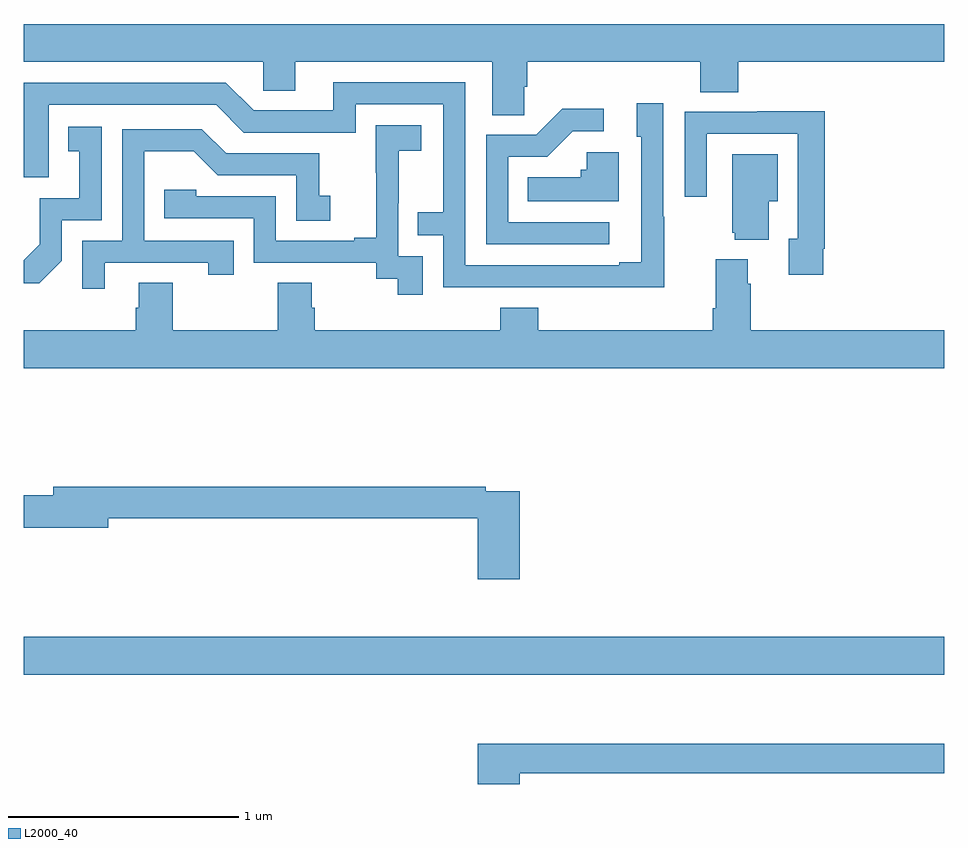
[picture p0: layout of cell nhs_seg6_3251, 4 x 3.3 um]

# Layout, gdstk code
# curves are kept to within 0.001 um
import gdstk
lib = gdstk.Library(unit=1e-6, precision=1e-09)
def R(c, l, rs):  # rectangles x0, y0, x1, y1
    for r in rs: c.add(gdstk.rectangle(r[:2], r[2:], *l))
def P(c, l, *ps):  # polygons
    for p in ps: c.add(gdstk.Polygon(p, *l))
L2000_40 = (2000, 40)

nhs_seg6_3251 = lib.new_cell('nhs_seg6_3251')
R(nhs_seg6_3251, L2000_40, [(301,973.976,305,974.14)])
P(nhs_seg6_3251, L2000_40, [(301,976.64),(302.04,976.64),(302.04,976.513),(302.179,976.513),(302.179,976.64),(303.035,976.64),(303.035,976.408),(303.174,976.408),(303.174,976.531),(303.188,976.531),(303.188,976.64),(303.941,976.64),(303.941,976.507),(304.106,976.507),(304.106,976.64),(305,976.64),(305,976.804),(301,976.804)],
  [(303.783,975.965),(303.78,975.965),(303.78,976.459),(303.665,976.459),(303.665,976.314),(303.684,976.314),(303.684,975.769),(303.587,975.769),(303.587,975.756),(302.919,975.756),(302.919,976.551),(302.345,976.551),(302.345,976.428),(301.998,976.428),(301.878,976.548),(301,976.548),(301,976.137),(301.107,976.137),(301.107,976.452),(301.836,976.452),(301.956,976.332),(302.442,976.332),(302.442,976.455),(302.823,976.455),(302.823,975.986),(302.713,975.986),(302.713,975.885),(302.823,975.885),(302.823,975.66),(303.783,975.659)],
  [(303.544,975.942),(303.105,975.942),(303.105,976.227),(303.274,976.227),(303.385,976.338),(303.52,976.338),(303.52,976.436),(303.341,976.436),(303.228,976.323),(303.009,976.323),(303.009,975.846),(303.544,975.846)],
  [(304.474,975.826),(304.481,975.826),(304.481,976.424),(304.189,976.424),(304.189,976.422),(303.873,976.422),(303.873,976.053),(303.969,976.053),(303.969,976.326),(304.365,976.326),(304.365,975.87),(304.325,975.87),(304.325,975.714),(304.474,975.714)],
  [(302.733,975.795),(302.628,975.795),(302.628,976.025),(302.63,976.025),(302.63,976.253),(302.728,976.253),(302.728,976.363),(302.53,976.363),(302.53,976.157),(302.531,976.157),(302.531,975.874),(302.435,975.874),(302.435,975.861),(302.094,975.861),(302.094,976.056),(301.749,976.056),(301.749,976.083),(301.609,976.083),(301.609,975.96),(301.998,975.96),(301.998,975.765),(302.532,975.765),(302.532,975.697),(302.625,975.697),(302.625,975.627),(302.733,975.627)],
  [(301.164,975.774),(301.164,975.951),(301.338,975.951),(301.338,976.357),(301.192,976.357),(301.192,976.251),(301.241,976.251),(301.241,976.047),(301.068,976.047),(301.068,975.846),(301,975.778),(301,975.677),(301.066,975.677)],
  [(301.351,975.765),(301.802,975.765),(301.802,975.714),(301.913,975.714),(301.913,975.861),(301.524,975.861),(301.524,976.25),(301.738,976.25),(301.842,976.146),(302.184,976.146),(302.184,975.948),(302.332,975.948),(302.332,976.057),(302.283,976.057),(302.283,976.242),(301.879,976.242),(301.774,976.347),(301.428,976.347),(301.428,975.861),(301.254,975.861),(301.254,975.654),(301.351,975.654)],
  [(303.586,976.246),(303.447,976.246),(303.447,976.17),(303.421,976.17),(303.421,976.138),(303.19,976.138),(303.19,976.034),(303.586,976.034)],
  [(304.237,976.034),(304.276,976.034),(304.276,976.237),(304.079,976.237),(304.079,975.897),(304.091,975.897),(304.091,975.866),(304.237,975.866)],
  [(305,975.472),(304.16,975.472),(304.16,975.674),(304.147,975.674),(304.147,975.781),(304.007,975.781),(304.007,975.568),(303.995,975.568),(303.995,975.472),(303.236,975.472),(303.236,975.571),(303.071,975.571),(303.071,975.472),(302.264,975.472),(302.264,975.57),(302.251,975.57),(302.251,975.68),(302.104,975.68),(302.104,975.472),(301.647,975.472),(301.647,975.68),(301.499,975.68),(301.499,975.57),(301.487,975.57),(301.487,975.472),(301,975.472),(301,975.308),(305,975.308)],
  [(303.155,974.772),(303.008,974.772),(303.008,974.792),(301.127,974.792),(301.127,974.756),(301,974.756),(301,974.614),(301.366,974.614),(301.366,974.656),(302.972,974.656),(302.972,974.391),(303.155,974.391)],
  [(303.155,973.546),(305,973.546),(305,973.675),(302.972,973.675),(302.972,973.5),(303.155,973.5)])

lib.write_gds('nhs_seg6_3251.gds')
